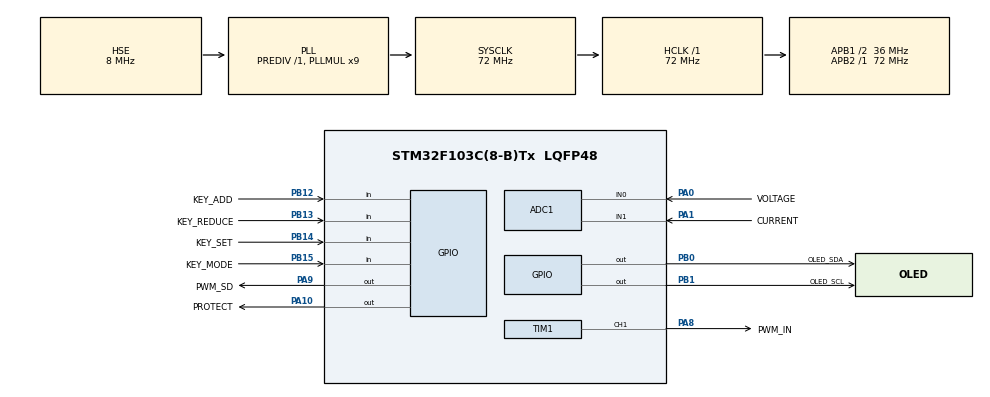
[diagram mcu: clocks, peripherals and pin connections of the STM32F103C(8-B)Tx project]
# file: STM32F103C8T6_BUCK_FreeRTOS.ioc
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ADC1.Channel-0\#ChannelRegularConversion=ADC_CHANNEL_0
ADC1.Channel-1\#ChannelRegularConversion=ADC_CHANNEL_1
ADC1.ContinuousConvMode=ENABLE
ADC1.DataAlign=ADC_DATAALIGN_RIGHT
ADC1.EnableAnalogWatchDog=false
ADC1.NbrOfConversion=2
ADC1.NbrOfConversionFlag=1
ADC1.Rank-0\#ChannelRegularConversion=1
ADC1.Rank-1\#ChannelRegularConversion=2
ADC1.SamplingTime-0\#ChannelRegularConversion=ADC_SAMPLETIME_239CYCLES_5
ADC1.SamplingTime-1\#ChannelRegularConversion=ADC_SAMPLETIME_239CYCLES_5
ADC1.master=1
Dma.ADC1.0.Direction=DMA_PERIPH_TO_MEMORY
Dma.ADC1.0.Instance=DMA1_Channel1
Dma.ADC1.0.MemDataAlignment=DMA_MDATAALIGN_HALFWORD
Dma.ADC1.0.MemInc=DMA_MINC_ENABLE
Dma.ADC1.0.Mode=DMA_CIRCULAR
Dma.ADC1.0.PeriphDataAlignment=DMA_PDATAALIGN_HALFWORD
Dma.ADC1.0.PeriphInc=DMA_PINC_DISABLE
Dma.ADC1.0.Priority=DMA_PRIORITY_HIGH
Dma.Request0=ADC1
FREERTOS.Queues01=keyQueue,4,KeyCode_t,0,Dynamic,NULL,NULL
FREERTOS.Tasks01=uiTask,8,256,StartUITask,Default,NULL,Dynamic,NULL,NULL;inputTask,24,128,StartInputTask,Default,NULL,Dynamic,NULL,NULL;measurementTask,16,192,StartMeasurementTask,Default,NULL,Dynamic,NULL,NULL;appTask,32,192,StartAppTask,Default,NULL,Dynamic,NULL,NULL;controlTask,40,192,StartControlTask,Default,NULL,Dynamic,NULL,NULL
FREERTOS.configCHECK_FOR_STACK_OVERFLOW=2
FREERTOS.configTOTAL_HEAP_SIZE=6144
FREERTOS.configUSE_MALLOC_FAILED_HOOK=1
Mcu.Family=STM32F1
Mcu.Name=STM32F103C(8-B)Tx
Mcu.Package=LQFP48
NVIC.DMA1_Channel1_IRQn=true\:5\:0\:false\:false\:true\:true\:false\:true\:true
NVIC.PriorityGroup=NVIC_PRIORITYGROUP_4
NVIC.TIM1_UP_IRQn=true\:5\:0\:false\:false\:true\:true\:true\:true\:true
NVIC.TIM4_IRQn=true\:15\:0\:false\:false\:true\:false\:false\:true\:true
NVIC.TimeBase=TIM4_IRQn
NVIC.TimeBaseIP=TIM4
PA0-WKUP.GPIO_Label=VOLTAGE
PA0-WKUP.Signal=ADCx_IN0
PA1.GPIO_Label=CURRENT
PA1.Signal=ADCx_IN1
PA10.GPIO_Label=PROTECT
PA10.GPIO_Speed=GPIO_SPEED_FREQ_HIGH
PA10.Signal=GPIO_Output
PA13.Mode=Serial_Wire
PA13.Signal=SYS_JTMS-SWDIO
PA14.Mode=Serial_Wire
PA14.Signal=SYS_JTCK-SWCLK
PA8.GPIO_Label=PWM_IN
PA8.Signal=S_TIM1_CH1
PA9.GPIO_Label=PWM_SD
PA9.GPIO_Speed=GPIO_SPEED_FREQ_HIGH
PA9.Signal=GPIO_Output
PB0.GPIO_Label=OLED_SDA
PB0.GPIO_Speed=GPIO_SPEED_FREQ_HIGH
PB0.PinState=GPIO_PIN_SET
PB0.Signal=GPIO_Output
PB1.GPIO_Label=OLED_SCL
PB1.GPIO_Speed=GPIO_SPEED_FREQ_HIGH
PB1.PinState=GPIO_PIN_SET
PB1.Signal=GPIO_Output
PB12.GPIO_Label=KEY_ADD
PB12.GPIO_PuPd=GPIO_PULLUP
PB12.Signal=GPIO_Input
PB13.GPIO_Label=KEY_REDUCE
PB13.GPIO_PuPd=GPIO_PULLUP
PB13.Signal=GPIO_Input
PB14.GPIO_Label=KEY_SET
PB14.GPIO_PuPd=GPIO_PULLUP
PB14.Signal=GPIO_Input
PB15.GPIO_Label=KEY_MODE
PB15.GPIO_PuPd=GPIO_PULLUP
PB15.Signal=GPIO_Input
PD0-OSC_IN.Mode=HSE-External-Oscillator
PD0-OSC_IN.Signal=RCC_OSC_IN
PD1-OSC_OUT.Mode=HSE-External-Oscillator
PD1-OSC_OUT.Signal=RCC_OSC_OUT
ProjectManager.HeapSize=0x200
ProjectManager.StackSize=0x400
ProjectManager.TargetToolchain=STM32CubeIDE
RCC.ADCPresc=RCC_ADCPCLK2_DIV6
RCC.AHBFreq_Value=72000000
RCC.APB1CLKDivider=RCC_HCLK_DIV2
RCC.APB1Freq_Value=36000000
RCC.APB1TimFreq_Value=72000000
RCC.APB2Freq_Value=72000000
RCC.APB2TimFreq_Value=72000000
RCC.HCLKFreq_Value=72000000
RCC.PLLMUL=RCC_PLL_MUL9
RCC.PLLSourceVirtual=RCC_PLLSOURCE_HSE
RCC.SYSCLKFreq_VALUE=72000000
RCC.SYSCLKSource=RCC_SYSCLKSOURCE_PLLCLK
RCC.USBFreq_Value=72000000
SH.ADCx_IN0.0=ADC1_IN0,IN0
SH.ADCx_IN1.0=ADC1_IN1,IN1
SH.S_TIM1_CH1.0=TIM1_CH1,PWM Generation1 CH1
TIM1.AutoReloadPreload=TIM_AUTORELOAD_PRELOAD_ENABLE
TIM1.Channel-PWM\ Generation1\ CH1=TIM_CHANNEL_1
TIM1.OCIdleState_1=TIM_OCIDLESTATE_RESET
TIM1.Period=3600 - 1
VP_FREERTOS_VS_CMSIS_V2.Mode=CMSIS_V2
VP_SYS_VS_tim4.Mode=TIM4
VP_TIM1_VS_ClockSourceINT.Mode=Internal
board=custom

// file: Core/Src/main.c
/* USER CODE BEGIN Header */
/**
  ******************************************************************************
  * @file           : main.c
  * @brief          : Main program body
  ******************************************************************************
  * @attention
  *
  * Copyright (c) 2026 STMicroelectronics.
  * All rights reserved.
  *
  * This software is licensed under terms that can be found in the LICENSE file
  * in the root directory of this software component.
  * If no LICENSE file comes with this software, it is provided AS-IS.
  *
  ******************************************************************************
  */
/* USER CODE END Header */
#include "main.h"
#include "cmsis_os.h"
#include "adc.h"
#include "dma.h"
#include "tim.h"
#include "gpio.h"

/* USER CODE BEGIN Includes */
#include "power_stage.h"
#include "adc_sample.h"
#include "buck_pwm.h"
#include "buck_control.h"
#include "measurement.h"
#include "protection.h"
#include "key.h"
#include "app_state.h"
#include "oled.h"
#include "ui.h"
#include "FreeRTOS.h"
#include "app_freertos.h"
/* USER CODE END Includes */

/* USER CODE BEGIN PD */
#define BUCK_CONTROL_UPDATE_DIVIDER    20u
/* USER CODE END PD */

void SystemClock_Config(void);
void MX_FREERTOS_Init(void);

int main(void)
{

  /* MCU Configuration--------------------------------------------------------*/

  /* Reset of all peripherals, Initializes the Flash interface and the Systick. */
  HAL_Init();

  /* Configure the system clock */
  SystemClock_Config();

  /* Initialize all configured peripherals */
  MX_GPIO_Init();
  MX_DMA_Init();
  MX_ADC1_Init();
  MX_TIM1_Init();
  /* USER CODE BEGIN 2 */
  PowerStage_Init();
  ADC_Sample_Init();
  Measurement_Init();
  BuckPwm_Init();
  BuckControl_Init();
  Key_Init();
  AppState_Init();

  UI_Init();

  HAL_TIM_Base_Start_IT(&htim1);/* 真正开启 TIM1 Update Interrupt */
  /* USER CODE END 2 */

  /* Init scheduler */
  osKernelInitialize();  /* Call init function for freertos objects (in cmsis_os2.c) */
  MX_FREERTOS_Init();

  /* Start scheduler */
  osKernelStart();

  /* We should never get here as control is now taken by the scheduler */

  /* Infinite loop */
  while (1)
  {

  }
}

void SystemClock_Config(void)
{
  RCC_OscInitTypeDef RCC_OscInitStruct = {0};
  RCC_ClkInitTypeDef RCC_ClkInitStruct = {0};
  RCC_PeriphCLKInitTypeDef PeriphClkInit = {0};

  /** Initializes the RCC Oscillators according to the specified parameters
  * in the RCC_OscInitTypeDef structure.
  */
  RCC_OscInitStruct.OscillatorType = RCC_OSCILLATORTYPE_HSE;
  RCC_OscInitStruct.HSEState = RCC_HSE_ON;
  RCC_OscInitStruct.HSEPredivValue = RCC_HSE_PREDIV_DIV1;
  RCC_OscInitStruct.HSIState = RCC_HSI_ON;
  RCC_OscInitStruct.PLL.PLLState = RCC_PLL_ON;
  RCC_OscInitStruct.PLL.PLLSource = RCC_PLLSOURCE_HSE;
  RCC_OscInitStruct.PLL.PLLMUL = RCC_PLL_MUL9;
  if (HAL_RCC_OscConfig(&RCC_OscInitStruct) != HAL_OK)
  {
    Error_Handler();
  }

  /** Initializes the CPU, AHB and APB buses clocks
  */
  RCC_ClkInitStruct.ClockType = RCC_CLOCKTYPE_HCLK|RCC_CLOCKTYPE_SYSCLK
                              |RCC_CLOCKTYPE_PCLK1|RCC_CLOCKTYPE_PCLK2;
  RCC_ClkInitStruct.SYSCLKSource = RCC_SYSCLKSOURCE_PLLCLK;
  RCC_ClkInitStruct.AHBCLKDivider = RCC_SYSCLK_DIV1;
  RCC_ClkInitStruct.APB1CLKDivider = RCC_HCLK_DIV2;
  RCC_ClkInitStruct.APB2CLKDivider = RCC_HCLK_DIV1;

  if (HAL_RCC_ClockConfig(&RCC_ClkInitStruct, FLASH_LATENCY_2) != HAL_OK)
  {
    Error_Handler();
  }
  PeriphClkInit.PeriphClockSelection = RCC_PERIPHCLK_ADC;
  PeriphClkInit.AdcClockSelection = RCC_ADCPCLK2_DIV6;
  if (HAL_RCCEx_PeriphCLKConfig(&PeriphClkInit) != HAL_OK)
  {
    Error_Handler();
  }
}

/* USER CODE BEGIN 4 */
void HAL_ADC_ErrorCallback(ADC_HandleTypeDef *hadc)
{
    if(hadc->Instance == ADC1)
    {
        BuckControl_LatchFault();
    }
}
/* USER CODE END 4 */

void HAL_TIM_PeriodElapsedCallback(TIM_HandleTypeDef *htim)
{
  /* USER CODE BEGIN Callback 0 */
  uint16_t ADCVoltageRawValue;
  uint16_t ADCCurrentRawValue;

  ADCVoltageRawValue = ADC_Sample_GetVoltageRaw();
  ADCCurrentRawValue = ADC_Sample_GetCurrentRaw();
  static uint8_t TIM1UpdateCount = 0u;

  if(htim->Instance == TIM1)
  {
      TIM1UpdateCount++;

      if(TIM1UpdateCount >= BUCK_CONTROL_UPDATE_DIVIDER)
      {
          TIM1UpdateCount = 0u;

          if(AppState_Get() == APP_RUN)
          {
              if(Protection_IsFaultDetected(
                      ADCVoltageRawValue,
                      ADCCurrentRawValue) != 0u)
              {
            	  BuckControl_LatchFault();
              }
              else
              {
            	  ControlTask_NotifyFromISR();
              }
          }
      }
  }

  /* USER CODE END Callback 0 */
  if (htim->Instance == TIM4)
  {
    HAL_IncTick();
  }
}

void Error_Handler(void)
{
  __disable_irq();
  while (1)
  {
  }
}

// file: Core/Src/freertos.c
/* USER CODE BEGIN Header */
/**
  ******************************************************************************
  * File Name          : freertos.c
  * Description        : Code for freertos applications
  ******************************************************************************
  * @attention
  *
  * Copyright (c) 2026 STMicroelectronics.
  * All rights reserved.
  *
  * This software is licensed under terms that can be found in the LICENSE file
  * in the root directory of this software component.
  * If no LICENSE file comes with this software, it is provided AS-IS.
  *
  ******************************************************************************
  */
/* USER CODE END Header */

#include "FreeRTOS.h"
#include "task.h"
#include "main.h"
#include "cmsis_os.h"

/* USER CODE BEGIN Includes */
#include "ui.h"
#include "key.h"
#include "measurement.h"
#include "adc_sample.h"
#include "app_state.h"
#include "buck_control.h"
#include "app_freertos.h"
/* USER CODE END Includes */

/* Definitions for uiTask */
osThreadId_t uiTaskHandle;
const osThreadAttr_t uiTask_attributes = {
  .name = "uiTask",
  .stack_size = 256 * 4,
  .priority = (osPriority_t) osPriorityLow,
};
/* Definitions for inputTask */
osThreadId_t inputTaskHandle;
const osThreadAttr_t inputTask_attributes = {
  .name = "inputTask",
  .stack_size = 128 * 4,
  .priority = (osPriority_t) osPriorityNormal,
};
/* Definitions for measurementTask */
osThreadId_t measurementTaskHandle;
const osThreadAttr_t measurementTask_attributes = {
  .name = "measurementTask",
  .stack_size = 192 * 4,
  .priority = (osPriority_t) osPriorityBelowNormal,
};
/* Definitions for appTask */
osThreadId_t appTaskHandle;
const osThreadAttr_t appTask_attributes = {
  .name = "appTask",
  .stack_size = 192 * 4,
  .priority = (osPriority_t) osPriorityAboveNormal,
};
/* Definitions for controlTask */
osThreadId_t controlTaskHandle;
const osThreadAttr_t controlTask_attributes = {
  .name = "controlTask",
  .stack_size = 192 * 4,
  .priority = (osPriority_t) osPriorityHigh,
};
/* Definitions for keyQueue */
osMessageQueueId_t keyQueueHandle;
const osMessageQueueAttr_t keyQueue_attributes = {
  .name = "keyQueue"
};

void StartUITask(void *argument);
void StartInputTask(void *argument);
void StartMeasurementTask(void *argument);
void StartAppTask(void *argument);
void StartControlTask(void *argument);

void MX_FREERTOS_Init(void); /* (MISRA C 2004 rule 8.1) */

/* Hook prototypes */
void vApplicationStackOverflowHook(xTaskHandle xTask, signed char *pcTaskName);
void vApplicationMallocFailedHook(void);

/* USER CODE BEGIN 4 */
void vApplicationStackOverflowHook(xTaskHandle xTask, signed char *pcTaskName)
{
   /* Run time stack overflow checking is performed if
   configCHECK_FOR_STACK_OVERFLOW is defined to 1 or 2. This hook function is
   called if a stack overflow is detected. */
   (void)xTask;
   (void)pcTaskName;

   __disable_irq();

   for(;;)
   {
   }

}
/* USER CODE END 4 */

/* USER CODE BEGIN 5 */
void vApplicationMallocFailedHook(void)
{
   /* vApplicationMallocFailedHook() will only be called if
   configUSE_MALLOC_FAILED_HOOK is set to 1 in FreeRTOSConfig.h. It is a hook
   function that will get called if a call to pvPortMalloc() fails.
   pvPortMalloc() is called internally by the kernel whenever a task, queue,
   timer or semaphore is created. It is also called by various parts of the
   demo application. If heap_1.c or heap_2.c are used, then the size of the
   heap available to pvPortMalloc() is defined by configTOTAL_HEAP_SIZE in
   FreeRTOSConfig.h, and the xPortGetFreeHeapSize() API function can be used
   to query the size of free heap space that remains (although it does not
   provide information on how the remaining heap might be fragmented). */

   __disable_irq();

   for(;;)
   {
   }

}
/* USER CODE END 5 */

void MX_FREERTOS_Init(void) {

  /* Create the queue(s) */
  /* creation of keyQueue */
  keyQueueHandle = osMessageQueueNew (4, sizeof(KeyCode_t), &keyQueue_attributes);

  /* Create the thread(s) */
  /* creation of uiTask */
  uiTaskHandle = osThreadNew(StartUITask, NULL, &uiTask_attributes);

  /* creation of inputTask */
  inputTaskHandle = osThreadNew(StartInputTask, NULL, &inputTask_attributes);

  /* creation of measurementTask */
  measurementTaskHandle = osThreadNew(StartMeasurementTask, NULL, &measurementTask_attributes);

  /* creation of appTask */
  appTaskHandle = osThreadNew(StartAppTask, NULL, &appTask_attributes);

  /* creation of controlTask */
  controlTaskHandle = osThreadNew(StartControlTask, NULL, &controlTask_attributes);

}

void StartUITask(void *argument)
{
  /* USER CODE BEGIN StartUITask */
  for(;;)
  {
    UI_Update();

    osDelay(200);
  }

  /* USER CODE END StartUITask */
}

void StartInputTask(void *argument)
{
  /* USER CODE BEGIN StartInputTask */
  /* Infinite loop */
  for(;;)
  {
	Key_Scan1ms();

	KeyCode_t KeyEvent;

	KeyEvent = Key_GetEvent();

	if(KeyEvent != KEY_NONE)
	{
	    osMessageQueuePut(
	        keyQueueHandle,
	        &KeyEvent,
	        0u,
	        0u);
	}

    osDelay(1);
  }
  /* USER CODE END StartInputTask */
}

void StartMeasurementTask(void *argument)
{
  /* USER CODE BEGIN StartMeasurementTask */
  /* Infinite loop */
  for(;;)
  {
	Measurement_UpdateFromAdcRaw(
	            ADC_Sample_GetVoltageRaw(),
	            ADC_Sample_GetCurrentRaw());

    osDelay(10);
  }
  /* USER CODE END StartMeasurementTask */
}

void StartAppTask(void *argument)
{
  /* USER CODE BEGIN StartAppTask */
	KeyCode_t KeyEvent;
  /* Infinite loop */
  for(;;)
  {
	if(osMessageQueueGet(
	        keyQueueHandle,
	        &KeyEvent,
	        NULL,
	        osWaitForever) == osOK)
	{
		AppState_HandleKeyEvent(KeyEvent);
	}

  }
  /* USER CODE END StartAppTask */
}

void StartControlTask(void *argument)
{
  /* USER CODE BEGIN StartControlTask */
  /* Infinite loop */
  for(;;)
  {
	  ulTaskNotifyTake(pdTRUE, portMAX_DELAY);

	  if(AppState_Get() == APP_RUN)
	  {
	      BuckControl_AdjustPwmClosedLoop();
	  }
  }
  /* USER CODE END StartControlTask */
}

/* USER CODE BEGIN Application */
void ControlTask_NotifyFromISR(void)
{
    BaseType_t xHigherPriorityTaskWoken = pdFALSE;

    vTaskNotifyGiveFromISR(
        controlTaskHandle,
        &xHigherPriorityTaskWoken
    );

    portYIELD_FROM_ISR(xHigherPriorityTaskWoken);
}
/* USER CODE END Application */
